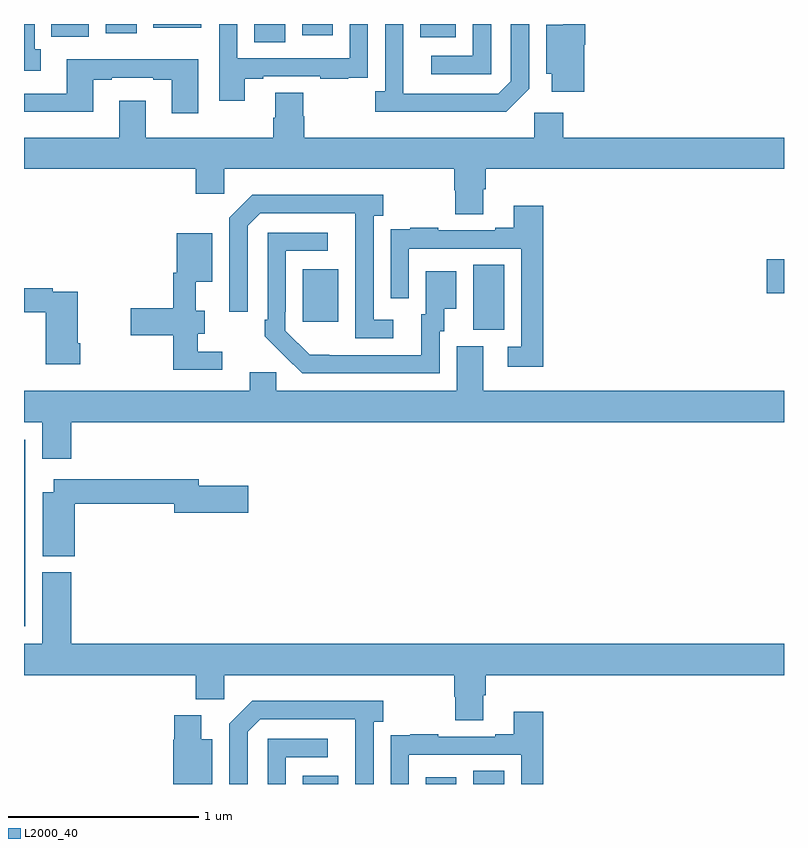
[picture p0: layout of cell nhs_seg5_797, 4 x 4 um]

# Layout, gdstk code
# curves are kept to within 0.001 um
import gdstk
lib = gdstk.Library(unit=1e-6, precision=1e-09)
def R(c, l, rs):  # rectangles x0, y0, x1, y1
    for r in rs: c.add(gdstk.rectangle(r[:2], r[2:], *l))
def P(c, l, *ps):  # polygons
    for p in ps: c.add(gdstk.Polygon(p, *l))
L2000_40 = (2000, 40)

nhs_seg5_797 = lib.new_cell('nhs_seg5_797')
R(nhs_seg5_797, L2000_40, [(162.467,910.799,162.655,910.843), (163.115,910.799,163.276,910.834), (163.364,910.799,163.528,910.868), (161,911.628,161.007,912.612), (163.364,913.189,163.528,913.532), (162.467,913.233,162.655,913.507), (164.91,913.382,165,913.56), (162.212,914.704,162.376,914.799), (163.085,914.729,163.273,914.799), (161.144,914.732,161.341,914.799), (162.464,914.739,162.625,914.799), (161.429,914.75,161.593,914.799), (161.681,914.78,161.932,914.799)])
P(nhs_seg5_797, L2000_40, [(161.089,914.666),(161.056,914.666),(161.056,914.799),(161,914.799),(161,914.553),(161.089,914.553)],
  [(162.163,914.511),(162.259,914.511),(162.259,914.523),(162.559,914.523),(162.559,914.511),(162.707,914.511),(162.707,914.517),(162.809,914.517),(162.809,914.626),(162.81,914.626),(162.81,914.799),(162.714,914.799),(162.714,914.619),(162.123,914.619),(162.123,914.799),(162.027,914.799),(162.027,914.394),(162.163,914.394)],
  [(163.949,914.69),(163.955,914.69),(163.955,914.799),(163.838,914.799),(163.838,914.794),(163.748,914.794),(163.748,914.537),(163.778,914.537),(163.778,914.442),(163.949,914.442)],
  [(163.458,914.799),(163.362,914.799),(163.362,914.631),(163.143,914.631),(163.143,914.535),(163.458,914.535)],
  [(163.659,914.457),(163.659,914.799),(163.563,914.799),(163.563,914.499),(163.497,914.433),(162.997,914.433),(162.996,914.799),(162.9,914.799),(162.9,914.446),(162.849,914.446),(162.849,914.336),(163.538,914.336)],
  [(161.917,914.614),(161.225,914.614),(161.225,914.433),(161,914.433),(161,914.336),(161.365,914.336),(161.365,914.505),(161.461,914.505),(161.461,914.517),(161.681,914.517),(161.681,914.505),(161.777,914.505),(161.777,914.328),(161.917,914.328)],
  [(163.417,913.93),(163.43,913.93),(163.43,914.036),(165,914.036),(165,914.2),(163.838,914.2),(163.838,914.332),(163.686,914.332),(163.686,914.2),(162.476,914.2),(162.476,914.313),(162.471,914.313),(162.471,914.438),(162.323,914.438),(162.323,914.306),(162.311,914.306),(162.311,914.2),(161.641,914.2),(161.641,914.395),(161.501,914.395),(161.501,914.2),(161,914.2),(161,914.036),(161.903,914.036),(161.903,913.905),(162.054,913.905),(162.054,914.036),(163.265,914.036),(163.265,913.923),(163.27,913.923),(163.27,913.798),(163.417,913.798)],
  [(162.943,913.242),(162.84,913.242),(162.84,913.79),(162.892,913.79),(162.892,913.9),(162.202,913.9),(162.081,913.779),(162.081,913.284),(162.177,913.284),(162.177,913.737),(162.243,913.803),(162.743,913.803),(162.744,913.146),(162.943,913.146)],
  [(163.733,913.843),(163.577,913.843),(163.577,913.726),(163.481,913.726),(163.481,913.713),(163.181,913.713),(163.181,913.726),(163.033,913.726),(163.033,913.719),(162.931,913.719),(162.931,913.61),(162.93,913.61),(162.93,913.356),(163.026,913.356),(163.026,913.617),(163.617,913.617),(163.617,913.101),(163.545,913.101),(163.545,912.996),(163.733,912.996)],
  [(163.188,913.182),(163.213,913.182),(163.213,913.301),(163.276,913.301),(163.276,913.498),(163.115,913.498),(163.115,913.272),(163.091,913.272),(163.091,913.056),(162.504,913.057),(162.375,913.185),(162.375,913.285),(162.378,913.285),(162.378,913.605),(162.598,913.605),(162.598,913.701),(162.282,913.701),(162.282,913.243),(162.267,913.243),(162.267,913.155),(162.464,912.96),(163.188,912.96)],
  [(162.043,913.074),(161.914,913.074),(161.914,913.169),(161.95,913.169),(161.95,913.291),(161.903,913.291),(161.903,913.442),(161.992,913.442),(161.992,913.699),(161.804,913.699),(161.804,913.491),(161.785,913.491),(161.785,913.304),(161.562,913.304),(161.562,913.162),(161.785,913.162),(161.785,912.978),(162.043,912.978)],
  [(161.297,913.12),(161.284,913.12),(161.284,913.389),(161.15,913.389),(161.15,913.409),(161,913.409),(161,913.281),(161.114,913.281),(161.114,913.008),(161.297,913.008)],
  [(161.249,912.704),(165,912.704),(165,912.868),(163.417,912.868),(163.417,913.104),(163.277,913.104),(163.277,912.868),(162.327,912.868),(162.327,912.966),(162.188,912.966),(162.188,912.868),(161,912.868),(161,912.704),(161.096,912.704),(161.096,912.51),(161.249,912.51)],
  [(161.266,912.274),(161.792,912.274),(161.792,912.227),(162.181,912.227),(162.181,912.369),(161.92,912.369),(161.92,912.403),(161.156,912.403),(161.156,912.334),(161.099,912.334),(161.099,911.999),(161.266,911.999)],
  [(163.417,911.266),(163.43,911.266),(163.43,911.372),(165,911.372),(165,911.536),(161.249,911.536),(161.249,911.914),(161.096,911.914),(161.096,911.536),(161,911.536),(161,911.372),(161.903,911.372),(161.903,911.246),(162.054,911.246),(162.054,911.372),(163.265,911.372),(163.265,911.259),(163.27,911.259),(163.27,911.134),(163.417,911.134)],
  [(162.177,911.073),(162.243,911.139),(162.743,911.139),(162.744,910.799),(162.84,910.799),(162.84,911.126),(162.892,911.126),(162.892,911.236),(162.202,911.236),(162.081,911.115),(162.081,910.799),(162.177,910.799)],
  [(163.026,910.953),(163.617,910.953),(163.617,910.799),(163.733,910.799),(163.733,911.179),(163.577,911.179),(163.577,911.062),(163.481,911.062),(163.481,911.049),(163.181,911.049),(163.181,911.062),(163.033,911.062),(163.033,911.055),(162.931,911.055),(162.931,910.946),(162.93,910.946),(162.93,910.799),(163.026,910.799)],
  [(161.992,911.035),(161.932,911.035),(161.932,911.161),(161.792,911.161),(161.792,911.031),(161.785,911.031),(161.785,910.799),(161.992,910.799)],
  [(162.378,910.941),(162.598,910.941),(162.598,911.037),(162.282,911.037),(162.282,910.799),(162.378,910.799)])

lib.write_gds('nhs_seg5_797.gds')
